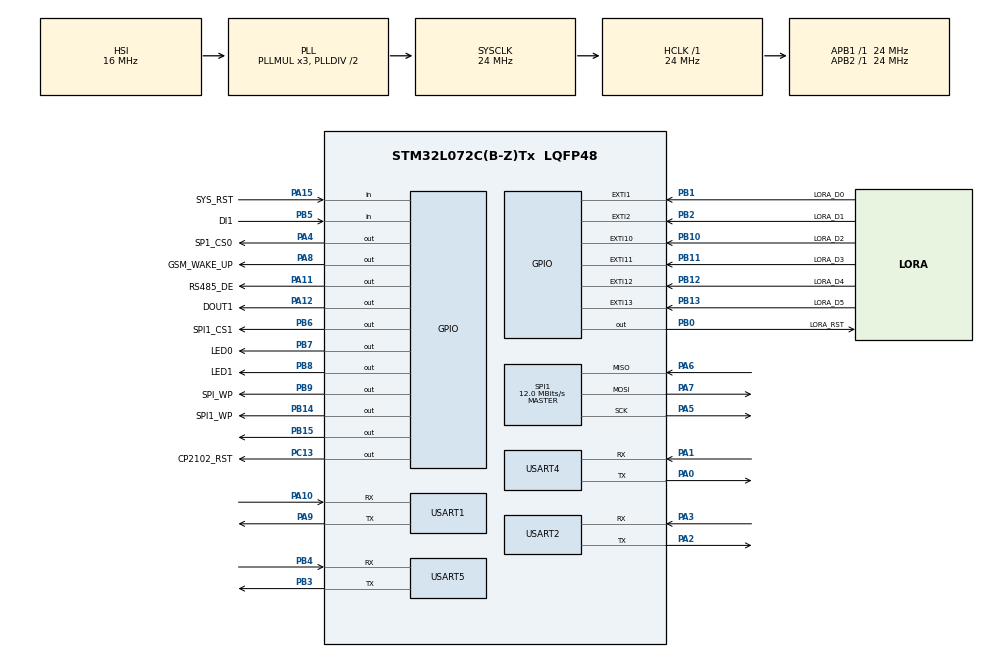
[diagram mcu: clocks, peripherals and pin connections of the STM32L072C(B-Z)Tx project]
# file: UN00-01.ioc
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Dma.Request0=USART2_RX
Dma.Request1=USART4_RX
Dma.USART2_RX.0.Direction=DMA_PERIPH_TO_MEMORY
Dma.USART2_RX.0.Instance=DMA1_Channel5
Dma.USART2_RX.0.MemDataAlignment=DMA_MDATAALIGN_BYTE
Dma.USART2_RX.0.MemInc=DMA_MINC_ENABLE
Dma.USART2_RX.0.Mode=DMA_NORMAL
Dma.USART2_RX.0.PeriphDataAlignment=DMA_PDATAALIGN_BYTE
Dma.USART2_RX.0.PeriphInc=DMA_PINC_DISABLE
Dma.USART2_RX.0.Priority=DMA_PRIORITY_LOW
Dma.USART4_RX.1.Direction=DMA_PERIPH_TO_MEMORY
Dma.USART4_RX.1.Instance=DMA1_Channel2
Dma.USART4_RX.1.MemDataAlignment=DMA_MDATAALIGN_BYTE
Dma.USART4_RX.1.MemInc=DMA_MINC_ENABLE
Dma.USART4_RX.1.Mode=DMA_NORMAL
Dma.USART4_RX.1.PeriphDataAlignment=DMA_PDATAALIGN_BYTE
Dma.USART4_RX.1.PeriphInc=DMA_PINC_DISABLE
Dma.USART4_RX.1.Priority=DMA_PRIORITY_LOW
IWDG.Prescaler=IWDG_PRESCALER_256
Mcu.Family=STM32L0
Mcu.Name=STM32L072C(B-Z)Tx
Mcu.Package=LQFP48
NVIC.DMA1_Channel2_3_IRQn=true\:0\:0\:false\:false\:true\:false
NVIC.DMA1_Channel4_5_6_7_IRQn=true\:0\:0\:false\:false\:true\:false
NVIC.TIM6_DAC_IRQn=true\:0\:0\:false\:false\:true\:true
NVIC.TIM7_IRQn=true\:0\:0\:false\:false\:true\:true
NVIC.USART1_IRQn=true\:0\:0\:false\:false\:true\:true
NVIC.USART2_IRQn=true\:0\:0\:false\:false\:true\:true
NVIC.USART4_5_IRQn=true\:0\:0\:false\:false\:true\:true
PA0.Mode=Asynchronous
PA0.Signal=USART4_TX
PA1.Mode=Asynchronous
PA1.Signal=USART4_RX
PA10.Mode=Asynchronous
PA10.Signal=USART1_RX
PA11.GPIO_Label=RS485_DE
PA11.Signal=GPIO_Output
PA12.GPIO_Label=DOUT1
PA12.Signal=GPIO_Output
PA15.GPIO_Label=SYS_RST
PA15.Signal=GPIO_Input
PA2.Mode=Asynchronous
PA2.Signal=USART2_TX
PA3.Mode=Asynchronous
PA3.Signal=USART2_RX
PA4.GPIO_Label=SP1_CS0
PA4.GPIO_Speed=GPIO_SPEED_FREQ_HIGH
PA4.PinState=GPIO_PIN_SET
PA4.Signal=GPIO_Output
PA5.Mode=Full_Duplex_Master
PA5.Signal=SPI1_SCK
PA6.Mode=Full_Duplex_Master
PA6.Signal=SPI1_MISO
PA7.Mode=Full_Duplex_Master
PA7.Signal=SPI1_MOSI
PA8.GPIO_Label=GSM_WAKE_UP
PA8.Signal=GPIO_Output
PA9.Mode=Asynchronous
PA9.Signal=USART1_TX
PB0.GPIO_Label=LORA_RST
PB0.Signal=GPIO_Output
PB1.GPIO_Label=LORA_D0
PB1.Signal=GPXTI1
PB10.GPIO_Label=LORA_D2
PB10.Signal=GPXTI10
PB11.GPIO_Label=LORA_D3
PB11.Signal=GPXTI11
PB12.GPIO_Label=LORA_D4
PB12.Signal=GPXTI12
PB13.GPIO_Label=LORA_D5
PB13.Signal=GPXTI13
PB14.GPIO_Label=SPI1_WP
PB14.Signal=GPIO_Output
PB15.Signal=GPIO_Output
PB2.GPIO_Label=LORA_D1
PB2.Signal=GPXTI2
PB3.Mode=Asynchronous
PB3.Signal=USART5_TX
PB4.Mode=Asynchronous
PB4.Signal=USART5_RX
PB5.GPIO_Label=DI1
PB5.Signal=GPIO_Input
PB6.GPIO_Label=SPI1_CS1
PB6.Signal=GPIO_Output
PB7.GPIO_Label=LED0
PB7.PinState=GPIO_PIN_SET
PB7.Signal=GPIO_Output
PB8.GPIO_Label=LED1
PB8.PinState=GPIO_PIN_SET
PB8.Signal=GPIO_Output
PB9.GPIO_Label=SPI_WP
PB9.Signal=GPIO_Output
PC13.GPIO_Label=CP2102_RST
PC13.PinState=GPIO_PIN_RESET
PC13.Signal=GPIO_Output
ProjectManager.HeapSize=0x200
ProjectManager.StackSize=0x400
ProjectManager.TargetToolchain=MDK-ARM V5
RCC.AHBFreq_Value=24000000
RCC.APB1Freq_Value=24000000
RCC.APB1TimFreq_Value=24000000
RCC.APB2Freq_Value=24000000
RCC.APB2TimFreq_Value=24000000
RCC.HCLKFreq_Value=24000000
RCC.HSE_VALUE=8000000
RCC.HSI16_VALUE=16000000
RCC.HSI48_VALUE=48000000
RCC.HSI_VALUE=16000000
RCC.LSE_VALUE=32768
RCC.MSI_VALUE=2097000
RCC.SYSCLKFreq_VALUE=24000000
RCC.SYSCLKSource=RCC_SYSCLKSOURCE_PLLCLK
RCC.VCOOutputFreq_Value=48000000
SPI1.CalculateBaudRate=12.0 MBits/s
SPI1.Direction=SPI_DIRECTION_2LINES
SPI1.Mode=SPI_MODE_MASTER
SPI1.VirtualType=VM_MASTER
TIM6.Period=999
TIM6.Prescaler=23
TIM7.Period=50
TIM7.Prescaler=24-1
USART1.VirtualMode-Asynchronous=VM_ASYNC
USART1.WordLength=WORDLENGTH_8B
USART2.VirtualMode-Asynchronous=VM_ASYNC
USART2.WordLength=WORDLENGTH_8B
USART4.VirtualMode-Asynchronous=VM_ASYNC
USART4.WordLength=WORDLENGTH_8B
USART5.VirtualMode-Asynchronous=VM_ASYNC
USART5.WordLength=WORDLENGTH_8B
VP_IWDG_VS_IWDG.Mode=IWDG_Activate
VP_TIM6_VS_ClockSourceINT.Mode=Enable_Timer
VP_TIM7_VS_ClockSourceINT.Mode=Enable_Timer
board=UN00-01

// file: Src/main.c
/**
  ******************************************************************************
  * @file           : main.c
  * @brief          : Main program body
  ******************************************************************************
  ** This notice applies to any and all portions of this file
  * that are not between comment pairs USER CODE BEGIN and
  * USER CODE END. Other portions of this file, whether
  * inserted by the user or by software development tools
  * are owned by their respective copyright owners.
  *
  * COPYRIGHT(c) 2018 STMicroelectronics
  *
  * Redistribution and use in source and binary forms, with or without modification,
  * are permitted provided that the following conditions are met:
  *   1. Redistributions of source code must retain the above copyright notice,
  *      this list of conditions and the following disclaimer.
  *   2. Redistributions in binary form must reproduce the above copyright notice,
  *      this list of conditions and the following disclaimer in the documentation
  *      and/or other materials provided with the distribution.
  *   3. Neither the name of STMicroelectronics nor the names of its contributors
  *      may be used to endorse or promote products derived from this software
  *      without specific prior written permission.
  *
  * THIS SOFTWARE IS PROVIDED BY THE COPYRIGHT HOLDERS AND CONTRIBUTORS "AS IS"
  * AND ANY EXPRESS OR IMPLIED WARRANTIES, INCLUDING, BUT NOT LIMITED TO, THE
  * IMPLIED WARRANTIES OF MERCHANTABILITY AND FITNESS FOR A PARTICULAR PURPOSE ARE
  * DISCLAIMED. IN NO EVENT SHALL THE COPYRIGHT HOLDER OR CONTRIBUTORS BE LIABLE
  * FOR ANY DIRECT, INDIRECT, INCIDENTAL, SPECIAL, EXEMPLARY, OR CONSEQUENTIAL
  * DAMAGES (INCLUDING, BUT NOT LIMITED TO, PROCUREMENT OF SUBSTITUTE GOODS OR
  * SERVICES; LOSS OF USE, DATA, OR PROFITS; OR BUSINESS INTERRUPTION) HOWEVER
  * CAUSED AND ON ANY THEORY OF LIABILITY, WHETHER IN CONTRACT, STRICT LIABILITY,
  * OR TORT (INCLUDING NEGLIGENCE OR OTHERWISE) ARISING IN ANY WAY OUT OF THE USE
  * OF THIS SOFTWARE, EVEN IF ADVISED OF THE POSSIBILITY OF SUCH DAMAGE.
  *
  ******************************************************************************
  */
#include "main.h"
#include "stm32l0xx_hal.h"
#include "dma.h"
#include "iwdg.h"
#include "spi.h"
#include "tim.h"
#include "usart.h"
#include "gpio.h"

/* USER CODE BEGIN Includes */
#include "cp2102.h"
#include "debug.h"
#include "led.h"
#include "mb.h"
/* USER CODE END Includes */

/* USER CODE BEGIN PV */
/* Private variables ---------------------------------------------------------*/

/* USER CODE END PV */

void SystemClock_Config(void);

/* USER CODE BEGIN PFP */
/* Private function prototypes -----------------------------------------------*/

/* USER CODE END PFP */

/* USER CODE BEGIN 0 */
//uint8_t recv_byte;

void HAL_TIM_PeriodElapsedCallback(TIM_HandleTypeDef *htim)
{
	if(htim->Instance == htim6.Instance) {
		unxx_led_timer_callback();
	}

	if(htim->Instance == htim7.Instance) {
		pxMBPortCBTimerExpired();
	}
}

void HAL_UART_TxCpltCallback(UART_HandleTypeDef *huart)
{
	if(huart->Instance == huart5.Instance) {
		pxMBFrameCBTransmitterEmpty();
	}
}

void HAL_UART_RxCpltCallback(UART_HandleTypeDef *huart)
{
	if(huart->Instance == huart5.Instance) {
		pxMBFrameCBByteReceived();
	}
}

/* USER CODE END 0 */

int main(void)
{

  /* MCU Configuration----------------------------------------------------------*/

  /* Reset of all peripherals, Initializes the Flash interface and the Systick. */
  HAL_Init();

  /* Configure the system clock */
  SystemClock_Config();

  /* Initialize all configured peripherals */
  MX_GPIO_Init();
  MX_DMA_Init();
  MX_USART1_UART_Init();
  MX_USART2_UART_Init();
  MX_USART4_UART_Init();
  MX_USART5_UART_Init();
  MX_TIM6_Init();
  MX_IWDG_Init();
  MX_SPI1_Init();
  MX_TIM7_Init();
  /* USER CODE BEGIN 2 */
	cp2102_reset();

	HAL_TIM_Base_Start_IT(&htim6);
	unxx_led_init();
	unxx_set_led_toggle(&green_led, 500, 500, 0);

	eMBInit(MB_RTU, 0x01, 0x05, 9600, MB_PAR_NONE);
	eMBEnable();
	unxx_debug("hello jimmy, hello un00-01!\r\n");
  /* USER CODE END 2 */

  /* Infinite loop */
  /* USER CODE BEGIN WHILE */
  while (1)
  {
		HAL_IWDG_Refresh(&hiwdg);
		eMBPoll();
  /* USER CODE END WHILE */

  }

}

void SystemClock_Config(void)
{

  RCC_OscInitTypeDef RCC_OscInitStruct;
  RCC_ClkInitTypeDef RCC_ClkInitStruct;
  RCC_PeriphCLKInitTypeDef PeriphClkInit;

    /**Configure the main internal regulator output voltage
    */
  __HAL_PWR_VOLTAGESCALING_CONFIG(PWR_REGULATOR_VOLTAGE_SCALE1);

    /**Initializes the CPU, AHB and APB busses clocks
    */
  RCC_OscInitStruct.OscillatorType = RCC_OSCILLATORTYPE_HSI|RCC_OSCILLATORTYPE_LSI;
  RCC_OscInitStruct.HSIState = RCC_HSI_ON;
  RCC_OscInitStruct.HSICalibrationValue = 16;
  RCC_OscInitStruct.LSIState = RCC_LSI_ON;
  RCC_OscInitStruct.PLL.PLLState = RCC_PLL_ON;
  RCC_OscInitStruct.PLL.PLLSource = RCC_PLLSOURCE_HSI;
  RCC_OscInitStruct.PLL.PLLMUL = RCC_PLLMUL_3;
  RCC_OscInitStruct.PLL.PLLDIV = RCC_PLLDIV_2;
  if (HAL_RCC_OscConfig(&RCC_OscInitStruct) != HAL_OK)
  {
    _Error_Handler(__FILE__, __LINE__);
  }

    /**Initializes the CPU, AHB and APB busses clocks
    */
  RCC_ClkInitStruct.ClockType = RCC_CLOCKTYPE_HCLK|RCC_CLOCKTYPE_SYSCLK
                              |RCC_CLOCKTYPE_PCLK1|RCC_CLOCKTYPE_PCLK2;
  RCC_ClkInitStruct.SYSCLKSource = RCC_SYSCLKSOURCE_PLLCLK;
  RCC_ClkInitStruct.AHBCLKDivider = RCC_SYSCLK_DIV1;
  RCC_ClkInitStruct.APB1CLKDivider = RCC_HCLK_DIV1;
  RCC_ClkInitStruct.APB2CLKDivider = RCC_HCLK_DIV1;

  if (HAL_RCC_ClockConfig(&RCC_ClkInitStruct, FLASH_LATENCY_1) != HAL_OK)
  {
    _Error_Handler(__FILE__, __LINE__);
  }

  PeriphClkInit.PeriphClockSelection = RCC_PERIPHCLK_USART1|RCC_PERIPHCLK_USART2;
  PeriphClkInit.Usart1ClockSelection = RCC_USART1CLKSOURCE_PCLK2;
  PeriphClkInit.Usart2ClockSelection = RCC_USART2CLKSOURCE_PCLK1;
  if (HAL_RCCEx_PeriphCLKConfig(&PeriphClkInit) != HAL_OK)
  {
    _Error_Handler(__FILE__, __LINE__);
  }

    /**Configure the Systick interrupt time
    */
  HAL_SYSTICK_Config(HAL_RCC_GetHCLKFreq()/1000);

    /**Configure the Systick
    */
  HAL_SYSTICK_CLKSourceConfig(SYSTICK_CLKSOURCE_HCLK);

  /* SysTick_IRQn interrupt configuration */
  HAL_NVIC_SetPriority(SysTick_IRQn, 0, 0);
}

void _Error_Handler(char *file, int line)
{
  while(1)
  {
  }
}

/************************ (C) COPYRIGHT STMicroelectronics *****END OF FILE****/
